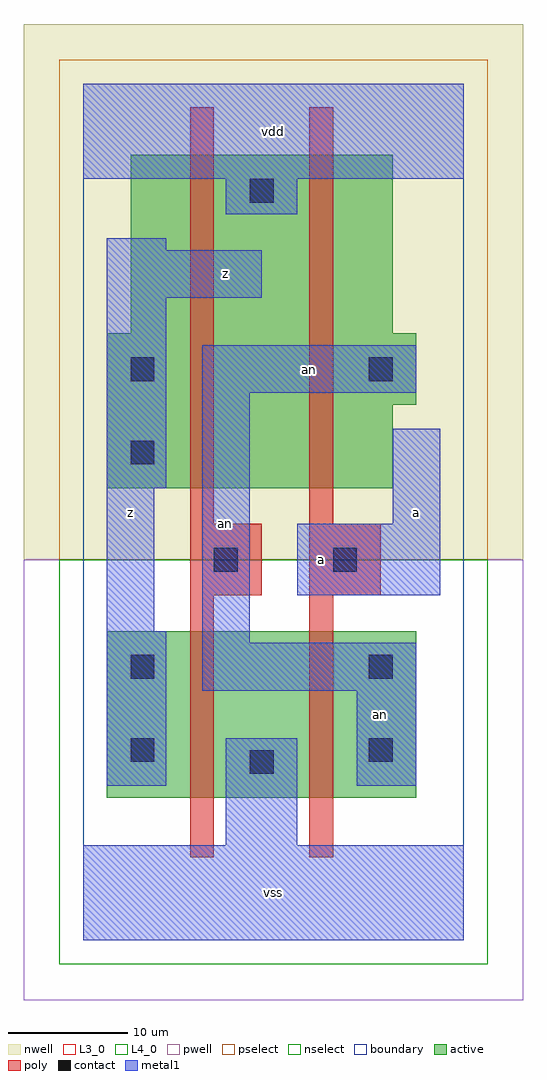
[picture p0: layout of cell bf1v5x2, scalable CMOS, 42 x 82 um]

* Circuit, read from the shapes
.subckt bf1v5x2 a an vdd vss z
M1 vss an z VSUBS nfet w=14u l=2u
M2 an a vss VSUBS nfet w=14u l=2u
M3 vdd an z n1 pfet w=28u l=2u
M4 an a vdd n1 pfet w=28u l=2u
.ends

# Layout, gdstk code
import gdstk
lib = gdstk.Library(unit=1e-6, precision=1e-09)
def R(c, l, rs):  # rectangles x0, y0, x1, y1
    for r in rs: c.add(gdstk.rectangle(r[:2], r[2:], *l))
L3_0 = (3, 0)
L4_0 = (4, 0)
contact = (25, 0)
pwell = (41, 0)
nwell = (42, 0)
active = (43, 0)
pselect = (44, 0)
nselect = (45, 0)
poly = (46, 0)
metal1 = (49, 0)
boundary = (63, 0)

bf1v5x2 = lib.new_cell('bf1v5x2')
R(bf1v5x2, L3_0, [(2,12,28,26)])
R(bf1v5x2, L4_0, [(2,38,26,45), (2,45,28,51), (4,51,26,66)])
R(bf1v5x2, contact, [(14,14,16,16), (4,15,6,17), (24,15,26,17), (4,22,6,24), (24,22,26,24), (11,31,13,33), (21,31,23,33), (4,40,6,42), (4,47,6,49), (24,47,26,49), (14,62,16,64)])
R(bf1v5x2, pwell, [(-5,-5,37,32)])
R(bf1v5x2, nwell, [(-5,32,37,77)])
R(bf1v5x2, active, [(2,12,28,26), (2,38,26,45), (2,45,28,51), (4,51,26,66)])
R(bf1v5x2, pselect, [(-2,32,34,74)])
R(bf1v5x2, nselect, [(-2,-2,34,32)])
R(bf1v5x2, poly, [(9,7,11,29), (19,7,21,29), (9,29,15,35), (19,29,25,35), (9,35,11,70), (19,35,21,70)])
R(bf1v5x2, metal1, [(0,0,32,8), (12,8,18,17), (2,13,7,26), (23,13,28,21), (10,21,28,25), (10,25,14,46), (2,26,6,38), (18,29,30,35), (26,35,30,43), (2,38,7,54), (10,46,28,50), (2,54,15,58), (2,58,7,59), (12,61,18,64), (0,64,32,72)])
R(bf1v5x2, boundary, [(0,0,32,72)])
bf1v5x2.add(gdstk.Label('an', (12,35), layer=49, texttype=0))
bf1v5x2.add(gdstk.Label('an', (25,19), layer=49, texttype=0))
bf1v5x2.add(gdstk.Label('an', (19,48), layer=49, texttype=0))
bf1v5x2.add(gdstk.Label('z', (4,36), layer=49, texttype=0))
bf1v5x2.add(gdstk.Label('vss', (16,4), layer=49, texttype=0))
bf1v5x2.add(gdstk.Label('z', (12,56), layer=49, texttype=0))
bf1v5x2.add(gdstk.Label('vdd', (16,68), layer=49, texttype=0))
bf1v5x2.add(gdstk.Label('a', (20,32), layer=49, texttype=0))
bf1v5x2.add(gdstk.Label('a', (28,36), layer=49, texttype=0))

lib.write_gds('bf1v5x2.gds')
